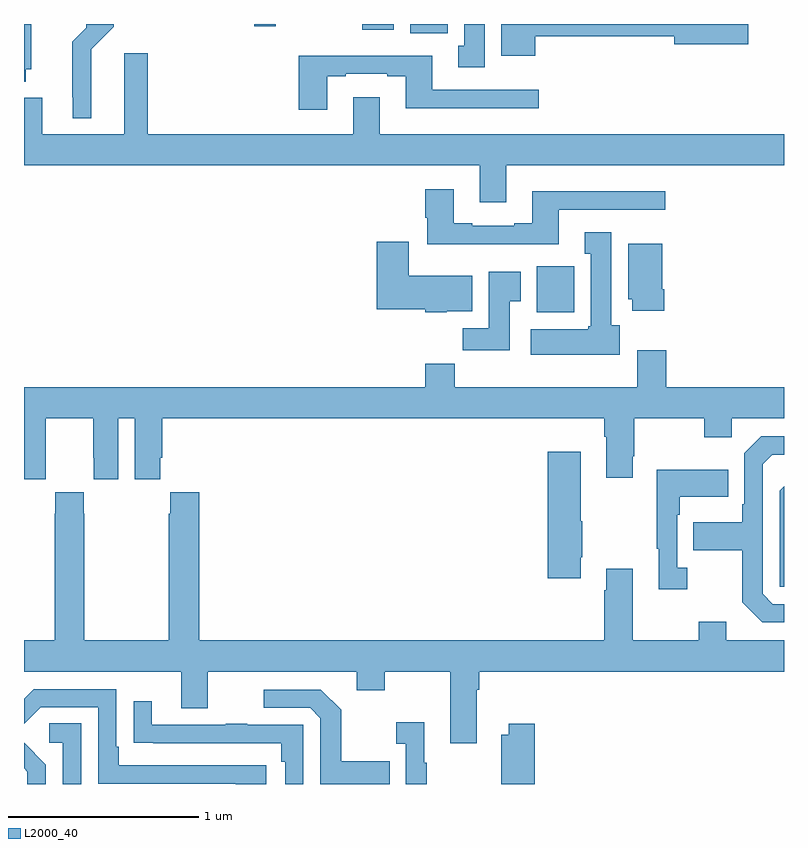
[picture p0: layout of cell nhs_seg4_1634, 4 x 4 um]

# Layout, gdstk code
import gdstk
lib = gdstk.Library(unit=1e-6, precision=1e-09)
def R(c, l, rs):  # rectangles x0, y0, x1, y1
    for r in rs: c.add(gdstk.rectangle(r[:2], r[2:], *l))
def P(c, l, *ps):  # polygons
    for p in ps: c.add(gdstk.Polygon(p, *l))
L2000_40 = (2000, 40)

nhs_seg4_1634 = lib.new_cell('nhs_seg4_1634')
R(nhs_seg4_1634, L2000_40, [(197.699,793.382,197.896,793.624), (197.033,794.852,197.23,794.9), (196.781,794.87,196.945,794.9), (196.212,794.888,196.324,794.9)])
P(nhs_seg4_1634, L2000_40, [(195.01,794.661),(195.037,794.661),(195.037,794.9),(195,794.9),(195,794.597),(195.01,794.597)],
  [(195.355,794.768),(195.473,794.886),(195.473,794.9),(195.327,794.9),(195.327,794.88),(195.253,794.806),(195.253,794.515),(195.257,794.515),(195.257,794.405),(195.355,794.405)],
  [(197.692,794.836),(198.422,794.836),(198.422,794.794),(198.811,794.794),(198.811,794.9),(197.513,794.9),(197.513,794.732),(197.692,794.732)],
  [(197.425,794.9),(197.318,794.9),(197.318,794.786),(197.285,794.786),(197.285,794.673),(197.425,794.673)],
  [(197.539,794.156),(199,794.156),(199,794.32),(196.873,794.32),(196.873,794.515),(196.733,794.515),(196.733,794.32),(195.65,794.32),(195.65,794.746),(195.527,794.746),(195.527,794.32),(195.097,794.32),(195.097,794.512),(195,794.512),(195,794.156),(197.399,794.156),(197.399,793.962),(197.539,793.962)],
  [(196.597,794.625),(196.693,794.625),(196.693,794.637),(196.913,794.637),(196.913,794.625),(197.009,794.625),(197.009,794.456),(197.71,794.456),(197.71,794.553),(197.149,794.553),(197.149,794.734),(196.445,794.734),(196.445,794.448),(196.597,794.448)],
  [(197.815,793.923),(198.376,793.923),(198.376,794.02),(197.675,794.02),(197.675,793.852),(197.579,793.852),(197.579,793.839),(197.359,793.839),(197.359,793.852),(197.263,793.852),(197.263,794.029),(197.111,794.029),(197.111,793.881),(197.123,793.881),(197.123,793.742),(197.815,793.742)],
  [(198.136,793.314),(198.091,793.314),(198.091,793.804),(197.951,793.804),(197.951,793.691),(197.984,793.691),(197.984,793.308),(197.971,793.308),(197.971,793.294),(197.667,793.294),(197.667,793.16),(198.136,793.16)],
  [(197.226,793.388),(197.359,793.388),(197.359,793.576),(197.026,793.576),(197.026,793.753),(196.856,793.753),(196.856,793.4),(197.112,793.4),(197.112,793.382),(197.226,793.382)],
  [(198.371,793.504),(198.358,793.504),(198.358,793.744),(198.179,793.744),(198.179,793.452),(198.2,793.452),(198.2,793.392),(198.371,793.392)],
  [(197.557,793.441),(197.614,793.441),(197.614,793.597),(197.447,793.597),(197.447,793.3),(197.308,793.3),(197.308,793.182),(197.557,793.182)],
  [(195.114,792.616),(195.115,792.616),(195.115,792.824),(195.365,792.824),(195.365,792.616),(195.366,792.616),(195.366,792.504),(195.496,792.504),(195.496,792.824),(195.584,792.824),(195.584,792.504),(195.718,792.504),(195.718,792.616),(195.728,792.616),(195.728,792.824),(198.053,792.824),(198.053,792.728),(198.065,792.728),(198.065,792.513),(198.205,792.513),(198.205,792.625),(198.213,792.625),(198.213,792.824),(198.58,792.824),(198.58,792.725),(198.726,792.725),(198.726,792.824),(199,792.824),(199,792.988),(198.38,792.988),(198.38,793.183),(198.227,793.183),(198.227,792.988),(197.267,792.988),(197.267,793.112),(197.111,793.112),(197.111,792.988),(195,792.988),(195,792.504),(195.114,792.504)],
  [(199,791.847),(198.942,791.847),(198.888,791.901),(198.888,792.582),(198.939,792.633),(199,792.633),(199,792.729),(198.879,792.729),(198.792,792.642),(198.792,792.373),(198.78,792.373),(198.78,792.277),(198.523,792.277),(198.523,792.13),(198.78,792.13),(198.78,791.857),(198.885,791.751),(199,791.751)],
  [(197.929,792.094),(197.937,792.094),(197.937,792.283),(197.929,792.283),(197.929,792.649),(197.756,792.649),(197.756,791.982),(197.929,791.982)],
  [(198.49,792.038),(198.438,792.038),(198.438,792.317),(198.451,792.317),(198.451,792.413),(198.707,792.413),(198.707,792.553),(198.33,792.553),(198.33,792.137),(198.341,792.137),(198.341,791.925),(198.49,791.925)],
  [(199,792.466),(198.978,792.444),(198.978,791.937),(199,791.937)],
  [(197.383,791.396),(197.396,791.396),(197.396,791.492),(199,791.492),(199,791.656),(198.697,791.656),(198.697,791.755),(198.55,791.755),(198.55,791.656),(198.205,791.656),(198.205,792.034),(198.065,792.034),(198.065,791.921),(198.053,791.921),(198.053,791.656),(195.923,791.656),(195.923,792.436),(195.769,792.436),(195.769,792.323),(195.763,792.323),(195.763,791.656),(195.318,791.656),(195.318,792.323),(195.315,792.323),(195.315,792.436),(195.165,792.436),(195.165,792.323),(195.163,792.323),(195.163,791.656),(195,791.656),(195,791.492),(195.827,791.492),(195.827,791.298),(195.967,791.298),(195.967,791.492),(196.751,791.492),(196.751,791.393),(196.899,791.393),(196.899,791.492),(197.243,791.492),(197.243,791.115),(197.383,791.115)],
  [(196.276,790.998),(195.499,790.998),(195.499,791.095),(195.486,791.095),(195.486,791.4),(195.051,791.4),(195,791.349),(195,791.217),(195.087,791.304),(195.39,791.304),(195.39,790.902),(196.115,790.902),(196.115,790.9),(196.276,790.9)],
  [(196.925,791.019),(196.669,791.019),(196.669,791.291),(196.563,791.397),(196.263,791.397),(196.263,791.301),(196.506,791.301),(196.56,791.247),(196.56,790.9),(196.925,790.9)],
  [(196.47,791.211),(196.175,791.211),(196.175,791.216),(196.063,791.216),(196.063,791.211),(195.673,791.211),(195.673,791.335),(195.577,791.335),(195.577,791.116),(195.679,791.116),(195.679,791.115),(196.354,791.115),(196.354,791.018),(196.374,791.018),(196.374,790.9),(196.47,790.9)],
  [(197.119,791.011),(197.107,791.011),(197.107,791.224),(196.959,791.224),(196.959,791.111),(197.01,791.111),(197.01,790.9),(197.119,790.9)],
  [(195.3,791.219),(195.132,791.219),(195.132,791.118),(195.204,791.118),(195.204,790.9),(195.3,790.9)],
  [(197.687,791.218),(197.552,791.218),(197.552,791.158),(197.512,791.158),(197.512,790.9),(197.687,790.9)],
  [(195.114,791.002),(195,791.116),(195,790.982),(195.017,790.965),(195.017,790.9),(195.114,790.9)])

lib.write_gds('nhs_seg4_1634.gds')
